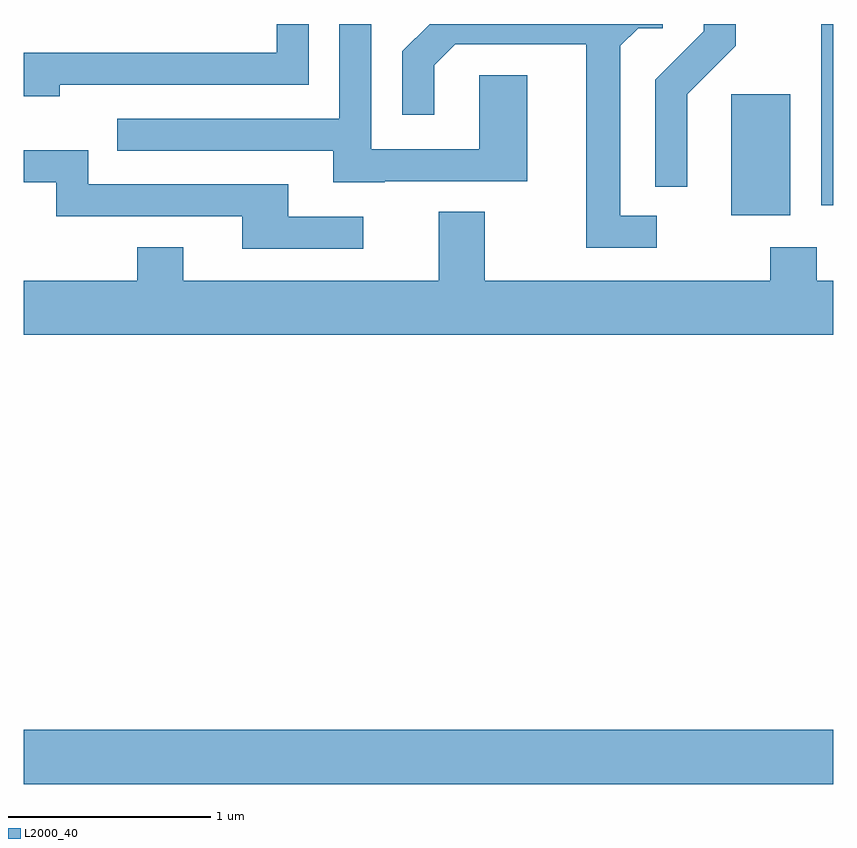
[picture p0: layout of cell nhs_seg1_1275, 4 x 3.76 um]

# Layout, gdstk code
import gdstk
lib = gdstk.Library(unit=1e-6, precision=1e-09)
def R(c, l, rs):  # rectangles x0, y0, x1, y1
    for r in rs: c.add(gdstk.rectangle(r[:2], r[2:], *l))
def P(c, l, *ps):  # polygons
    for p in ps: c.add(gdstk.Polygon(p, *l))
L2000_40 = (2000, 40)

nhs_seg1_1275 = lib.new_cell('nhs_seg1_1275')
R(nhs_seg1_1275, L2000_40, [(223.611,963.956,227.611,964.224), (227.106,966.766,227.399,967.364), (227.551,966.816,227.611,967.712)])
P(nhs_seg1_1275, L2000_40, [(226.738,966.764),(226.559,966.764),(226.559,967.604),(226.647,967.691),(226.768,967.691),(226.768,967.712),(225.617,967.712),(225.481,967.577),(225.481,967.263),(225.639,967.263),(225.639,967.509),(225.742,967.611),(226.391,967.611),(226.391,966.606),(226.738,966.606)],
  [(223.789,967.411),(225.019,967.411),(225.019,967.712),(224.861,967.712),(224.861,967.569),(223.611,967.569),(223.611,967.356),(223.789,967.356)],
  [(226.889,967.364),(227.129,967.604),(227.129,967.712),(226.971,967.712),(226.971,967.677),(226.731,967.437),(226.731,966.908),(226.889,966.908)],
  [(225.395,966.936),(226.099,966.936),(226.099,967.459),(225.861,967.459),(225.861,967.094),(225.329,967.094),(225.329,967.712),(225.171,967.712),(225.171,967.244),(224.073,967.244),(224.073,967.086),(225.141,967.086),(225.141,966.931),(225.395,966.931)],
  [(225.288,966.759),(224.919,966.759),(224.919,966.919),(223.929,966.919),(223.929,967.089),(223.611,967.089),(223.611,966.931),(223.771,966.931),(223.771,966.761),(224.691,966.761),(224.691,966.601),(225.288,966.601)],
  [(227.611,966.444),(227.529,966.444),(227.529,966.609),(227.301,966.609),(227.301,966.444),(225.889,966.444),(225.889,966.784),(225.661,966.784),(225.661,966.444),(224.399,966.444),(224.399,966.609),(224.171,966.609),(224.171,966.444),(223.611,966.444),(223.611,966.176),(227.611,966.176)])

lib.write_gds('nhs_seg1_1275.gds')
